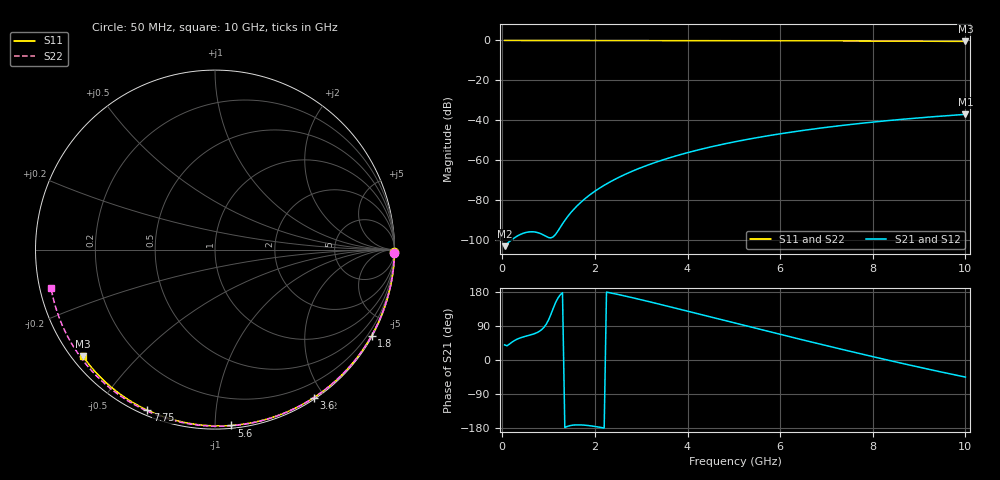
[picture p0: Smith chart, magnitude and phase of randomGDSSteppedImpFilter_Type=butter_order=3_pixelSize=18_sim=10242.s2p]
! freq	dB(S11)	phase(S11)	dB(S12)	phase(S12)
!  dB(S21)	phase(S21)	dB(S22)	phase(S22)
!S-par simulation data
#  GHz  S  DB  R 50
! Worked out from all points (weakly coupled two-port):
!   200 points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, 50 MHz to 10 GHz, reference 50 ohm
!   highest |S21| = -37.03 dB at 10 GHz (marker M1); lowest = -103.1 dB at 50 MHz (marker M2)
!   lowest |S11| = -0.5 dB at 10 GHz (marker M3), VSWR 35.83, Z = 1.57 - j17.6 ohm
!   |S11| at or under -10 dB: nowhere
!   |S22| runs from -0.6 to 0.0 dB; largest |S21 - S12| = 0
!   S11 on the Smith chart (normalised r, x): 50 MHz: open; 1.8 GHz: 0.03, -3.89; 3.6 GHz: 0.02, -1.87; 5.6 GHz: 0.02, -1.10; 7.75 GHz: 0.02, -0.66; 10 GHz: 0.03, -0.35
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0.05  -0.00 -0.8  -103.06 39.9  -103.06 39.9  -0.00 -1.0
0.45  -0.00 -7.3  -96.61 60.8  -96.61 60.8  -0.01 -8.7
0.85  -0.01 -13.8  -97.00 80.1  -97.00 80.1  -0.02 -16.3
1.3  -0.03 -21.0  -91.89 177.6  -91.89 177.6  -0.03 -24.9
1.75  -0.04 -28.1  -79.97 -171.7  -79.97 -171.7  -0.04 -33.3
1.8  -0.04 -28.8  -79.00 -172.2  -79.00 -172.2  -0.04 -34.2
1.95  -0.04 -31.2  -76.33 -174.4  -76.33 -174.4  -0.05 -37.0
2.1  -0.04 -33.5  -73.98 -177.4  -73.98 -177.4  -0.05 -39.7
2.3  -0.05 -36.6  -71.21 178.0  -71.21 178.0  -0.06 -43.4
2.5  -0.05 -39.7  -68.77 172.9  -68.77 172.9  -0.06 -47.0
2.9  -0.06 -45.8  -64.60 161.9  -64.60 161.9  -0.07 -54.2
3.4  -0.07 -53.4  -60.34 147.1  -60.34 147.1  -0.08 -63.0
3.6  -0.08 -56.3  -58.87 141.1  -58.87 141.1  -0.09 -66.5
4.3  -0.09 -66.5  -54.43 119.6  -54.43 119.6  -0.11 -78.4
5.05  -0.12 -77.1  -50.63 96.6  -50.63 96.6  -0.14 -90.7
5.6  -0.14 -84.7  -48.29 79.8  -48.29 79.8  -0.17 -99.5
6.15  -0.16 -92.1  -46.23 63.2  -46.23 63.2  -0.19 -108.1
6.7  -0.19 -99.3  -44.42 46.7  -44.42 46.7  -0.23 -116.6
7.75  -0.26 -112.8  -41.50 16.0  -41.50 16.0  -0.31 -132.5
8.35  -0.31 -120.4  -40.10 -1.0  -40.10 -1.0  -0.36 -141.5
9.2  -0.39 -131.1  -38.40 -24.3  -38.40 -24.3  -0.46 -154.4
10  -0.48 -141.2  -37.03 -45.1  -37.03 -45.1  -0.56 -166.9
